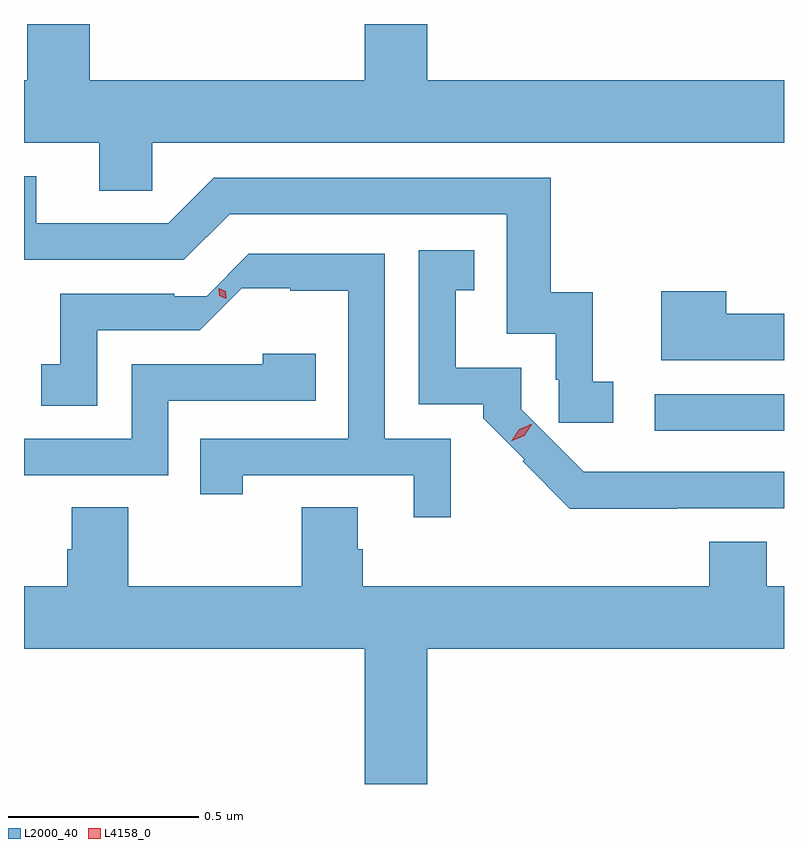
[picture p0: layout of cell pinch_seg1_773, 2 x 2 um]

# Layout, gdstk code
import gdstk
lib = gdstk.Library(unit=1e-6, precision=1e-09)
def R(c, l, rs):  # rectangles x0, y0, x1, y1
    for r in rs: c.add(gdstk.rectangle(r[:2], r[2:], *l))
def P(c, l, *ps):  # polygons
    for p in ps: c.add(gdstk.Polygon(p, *l))
L2000_40 = (2000, 40)
L4158_0 = (4158, 0)

pinch_seg1_773 = lib.new_cell('pinch_seg1_773')
R(pinch_seg1_773, L2000_40, [(849.087,509.682,849.427,509.778)])
P(pinch_seg1_773, L2000_40, [(847.764,510.44),(849.427,510.44),(849.427,510.604),(848.488,510.604),(848.488,510.752),(848.324,510.752),(848.324,510.604),(847.6,510.604),(847.6,510.752),(847.436,510.752),(847.436,510.604),(847.427,510.604),(847.427,510.44),(847.625,510.44),(847.625,510.313),(847.764,510.313)],
  [(848.977,509.811),(848.924,509.811),(848.924,510.046),(848.813,510.046),(848.813,510.348),(847.926,510.348),(847.806,510.228),(847.459,510.228),(847.459,510.351),(847.427,510.351),(847.427,510.132),(847.848,510.132),(847.968,510.252),(848.697,510.252),(848.697,509.937),(848.826,509.937),(848.826,509.816),(848.834,509.816),(848.834,509.703),(848.977,509.703)],
  [(849.146,509.478),(849.427,509.478),(849.427,509.574),(848.9,509.574),(848.736,509.738),(848.736,509.847),(848.563,509.847),(848.563,510.051),(848.612,510.051),(848.612,510.157),(848.466,510.157),(848.466,509.751),(848.635,509.751),(848.635,509.715),(848.744,509.606),(848.739,509.601),(848.863,509.477),(849.146,509.477)],
  [(848.55,509.661),(848.376,509.661),(848.376,510.147),(848.019,510.147),(847.908,510.036),(847.823,510.036),(847.823,510.042),(847.522,510.042),(847.522,509.857),(847.473,509.857),(847.473,509.748),(847.62,509.748),(847.62,509.946),(847.889,509.946),(848,510.057),(848.128,510.057),(848.128,510.05),(848.28,510.05),(848.28,509.661),(847.891,509.661),(847.891,509.514),(848.002,509.514),(848.002,509.565),(848.453,509.565),(848.453,509.454),(848.55,509.454)],
  [(849.427,509.989),(849.275,509.989),(849.275,510.049),(849.104,510.049),(849.104,509.867),(849.427,509.867)],
  [(847.806,509.76),(848.195,509.76),(848.195,509.884),(848.055,509.884),(848.055,509.856),(847.71,509.856),(847.71,509.661),(847.427,509.661),(847.427,509.565),(847.806,509.565)],
  [(848.488,509.108),(849.427,509.108),(849.427,509.272),(849.382,509.272),(849.382,509.389),(849.23,509.389),(849.23,509.272),(848.318,509.272),(848.318,509.37),(848.305,509.37),(848.305,509.48),(848.158,509.48),(848.158,509.272),(847.701,509.272),(847.701,509.48),(847.553,509.48),(847.553,509.37),(847.541,509.37),(847.541,509.272),(847.427,509.272),(847.427,509.108),(848.324,509.108),(848.324,508.752),(848.488,508.752)])
P(pinch_seg1_773, L4158_0, [(848.709,509.654),(848.709,509.654),(848.73,509.685),(848.764,509.7),(848.765,509.7),(848.765,509.7),(848.743,509.669),(848.709,509.654)],
  [(847.959,510.029),(847.959,510.029),(847.941,510.037),(847.94,510.057),(847.94,510.057),(847.94,510.057),(847.958,510.049),(847.959,510.029)])

lib.write_gds('pinch_seg1_773.gds')
